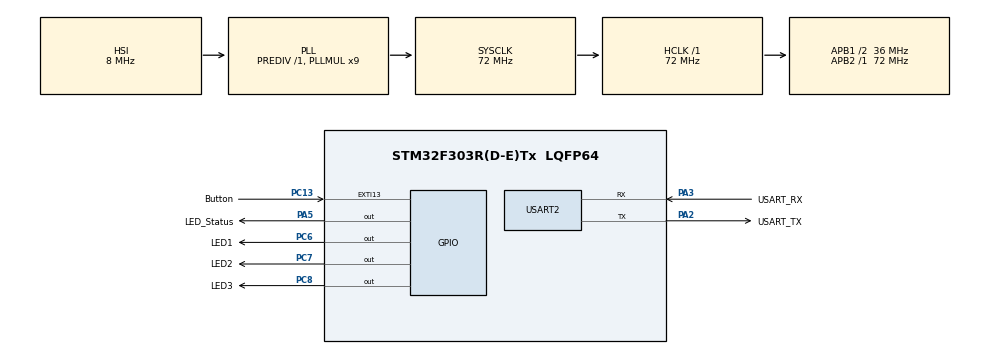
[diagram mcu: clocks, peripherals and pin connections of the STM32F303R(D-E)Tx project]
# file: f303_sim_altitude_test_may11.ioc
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Mcu.Family=STM32F3
PA2.GPIO_PuPd=GPIO_NOPULL
RCC.CortexFreq_Value=72000000
PA14.GPIO_Label=TCK
RCC.SYSCLKSourceVirtual=RCC_SYSCLKSOURCE_PLLCLK
PA3.GPIO_PuPd=GPIO_NOPULL
PA2.GPIO_Speed=GPIO_SPEED_FREQ_LOW
PC6.GPIO_Label=LED1
VP_RTC_VS_RTC_Activate.Mode=RTC_Enabled
PC13.GPIO_Label=Button
PA3.GPIO_Speed=GPIO_SPEED_FREQ_LOW
ProjectManager.StackSize=0x400
RCC.HCLKFreq_Value=72000000
RCC.APB2TimFreq_Value=72000000
PC7.Signal=GPIO_Output
RCC.AHBFreq_Value=72000000
RCC.HSE_VALUE=8000000
USART2.VirtualMode-Asynchronous=VM_ASYNC
RCC.RTCClockSelection=RCC_RTCCLKSOURCE_LSE
RCC.RCC_PLLsource_Clock_Source_FROM_HSE=RCC_HSE_PREDIV_DIV2
RCC.PLLMUL=RCC_PLL_MUL9
PC14-OSC32_IN.Mode=LSE-External-Oscillator
PA14.Mode=Serial_Wire
PA5.GPIO_PuPd=GPIO_NOPULL
Mcu.Package=LQFP64
PA2.GPIO_Label=USART_TX
RCC.APB1TimFreq_Value=72000000
PF1-OSC_OUT.Signal=RCC_OSC_OUT
PA3.Signal=USART2_RX
PA2.GPIO_Mode=GPIO_MODE_AF_PP
PB3.GPIO_Label=SWO
PC15-OSC32_OUT.Mode=LSE-External-Oscillator
PC13.Signal=GPXTI13
PC8.Signal=GPIO_Output
PC6.Signal=GPIO_Output
RCC.APB1CLKDivider=RCC_HCLK_DIV2
PC14-OSC32_IN.Signal=RCC_OSC32_IN
PC8.GPIO_Label=LED3
PA13.Signal=SYS_JTMS-SWDIO
PA3.Mode=Asynchronous
ProjectManager.TargetToolchain=STM32CubeIDE
PA3.GPIO_Mode=GPIO_MODE_AF_PP
RCC.USBFreq_Value=72000000
PC15-OSC32_OUT.Signal=RCC_OSC32_OUT
PF0-OSC_IN.Mode=HSE-External-Clock-Source
PA5.Signal=GPIO_Output
board=NUCLEO-F303RE
RCC.APB2Freq_Value=72000000
PA13.Mode=Serial_Wire
Mcu.Name=STM32F303R(D-E)Tx
PA13.GPIO_Label=TMS
PA2.Signal=USART2_TX
PC7.GPIO_Label=LED2
PB3.Signal=SYS_JTDO-TRACESWO
RCC.SYSCLKFreq_VALUE=72000000
PA5.GPIO_Label=LED_Status
PC13.GPIO_ModeDefaultEXTI=GPIO_MODE_IT_FALLING
PA14.Signal=SYS_JTCK-SWCLK
ProjectManager.HeapSize=0x200
RCC.HSI_VALUE=8000000
RCC.PLLP=RCC_PLLP_DIV4
PA5.GPIO_Speed=GPIO_SPEED_FREQ_LOW
RCC.PLLQ=7
NVIC.PriorityGroup=NVIC_PRIORITYGROUP_0
RCC.PLLM=8
RCC.PLLN=336
PA2.Mode=Asynchronous
PF0-OSC_IN.Signal=RCC_OSC_IN
RCC.APB1Freq_Value=36000000
PA5.GPIO_Mode=GPIO_MODE_OUTPUT_PP
PA3.GPIO_Label=USART_RX

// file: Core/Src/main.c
/* USER CODE BEGIN Header */
/**
  ******************************************************************************
  * @file           : main.c
  * @brief          : Main program body
  ******************************************************************************
  * @attention
  *
  * <h2><center>&copy; Copyright (c) 2021 STMicroelectronics.
  * All rights reserved.</center></h2>
  *
  * This software component is licensed by ST under BSD 3-Clause license,
  * the "License"; You may not use this file except in compliance with the
  * License. You may obtain a copy of the License at:
  *                        opensource.org/licenses/BSD-3-Clause
  *
  ******************************************************************************
  */
/* USER CODE END Header */
#include "main.h"

/* USER CODE BEGIN Includes */
#include <stdio.h>
#include <stdlib.h>
#include <string.h>
#include <math.h>
#include "ejection.h"

/* USER CODE END Includes */

/* USER CODE BEGIN PD */

#define DEBUG_MODE
#define CONFIG_TIME

/* USER CODE END PD */

RTC_HandleTypeDef hrtc;

UART_HandleTypeDef huart2;

/* USER CODE BEGIN PV */
// Transmission buffer
//static uint8_t rx_buffer[TX_BUF_DIM];
//static uint8_t tx_buffer[TX_BUF_DIM];
static uint8_t msg_buffer[TX_BUF_DIM];

// Ejection Variables
float alt_meas;
float alt_ground = 0;
float t_previous_loop, t_previous_buzz;
float average_gradient;

uint8_t apogee_reached = 0;
uint8_t inFlight = 0;
uint8_t main_deployed = 0;

uint32_t count = 0;

uint8_t readingLps = 0;

long time11;
long time12;
long time21;
long time22;

// Continuity and current measurements
float vsense_input;
float vsense_drogue;
float vsense_main;
uint8_t drogue_cont_1;
uint8_t drogue_cont_2;
uint8_t main_cont_1;
uint8_t main_cont_2;

// Telemetry Variables
uint8_t telemetry_counter = 0;

// Variables to store converted sensor data
float acceleration[] = {0, 0, 0};
float angular_rate[]= {0, 0, 0};
float pressure = 0;
float millis = 0;
float temperature = 0;
float latitude;
float longitude;
float time;

uint32_t data_raw_pressure;

// RTC date and time structures
RTC_DateTypeDef sdatestructureget;
RTC_TimeTypeDef stimestructureget;

// Timer variable
volatile uint8_t currTask = 0;

/* USER CODE END PV */

void SystemClock_Config(void);
static void MX_GPIO_Init(void);
static void MX_USART2_UART_Init(void);
static void MX_RTC_Init(void);
/* USER CODE BEGIN PFP */

// Convert pressure to altitude function
float getAltitude();
void get_pressure(float *pressure, float *millis);
float getVelocityGradient();
/* USER CODE END PFP */

int main(void)
{

  /* MCU Configuration--------------------------------------------------------*/

  /* Reset of all peripherals, Initializes the Flash interface and the Systick. */
  HAL_Init();

  /* Configure the system clock */
  SystemClock_Config();

  /* Initialize all configured peripherals */
  MX_GPIO_Init();
  MX_USART2_UART_Init();
  MX_RTC_Init();
  /* USER CODE BEGIN 2 */

  // Reset GPIOs
  HAL_GPIO_WritePin(LED_Status_GPIO_Port, LED_Status_Pin, GPIO_PIN_RESET);
  HAL_GPIO_WritePin(LED1_GPIO_Port, LED1_Pin, GPIO_PIN_RESET);
  HAL_GPIO_WritePin(LED2_GPIO_Port, LED2_Pin, GPIO_PIN_RESET);
  HAL_GPIO_WritePin(LED3_GPIO_Port, LED3_Pin, GPIO_PIN_RESET);

  // Reset error status --- indicators -> 0:SD, 1:LSM, 2:LPS, 3:Radio, 4:GPS, 5:Any
  memset(FC_Errors, 0, 6*sizeof(*FC_Errors));
  FC_Errors[5] = 1;

  // Reset ejection arrays
  memset(alt_previous, 0, NUM_MEAS_AVGING*sizeof(*alt_previous));
  memset(vel_previous, 0, NUM_MEAS_AVGING*sizeof(*vel_previous));

  // Get initial sensor values (will return 0)
  HAL_RTC_GetDate(&hrtc, &sdatestructureget, RTC_FORMAT_BIN);
  HAL_RTC_GetTime(&hrtc, &stimestructureget, RTC_FORMAT_BIN);

  // Stay inside loop until button pressed
  while (HAL_GPIO_ReadPin(Button_GPIO_Port, Button_Pin)){
	  if (FC_Errors[5])
		  HAL_GPIO_TogglePin(LED_Status_GPIO_Port, LED_Status_Pin);
	  HAL_Delay(250);
  }
  HAL_GPIO_WritePin(LED_Status_GPIO_Port, LED_Status_Pin, GPIO_PIN_SET);

//  sprintf((char *)msg_buffer, "---------- TELL SCRIPT TO START ----------\n");
//  HAL_UART_Transmit(&huart2, msg_buffer, strlen((char const *)msg_buffer), 1000);

  sprintf((char *)msg_buffer, "S\n"); // transmit s to start
  HAL_UART_Transmit(&huart2, msg_buffer, strlen((char const *)msg_buffer), 1000);

  // Reset LED status (now indicating ejection events)
  HAL_GPIO_WritePin(LED1_GPIO_Port, LED1_Pin, GPIO_PIN_RESET);
  HAL_GPIO_WritePin(LED2_GPIO_Port, LED2_Pin, GPIO_PIN_RESET);
  HAL_GPIO_WritePin(LED3_GPIO_Port, LED3_Pin, GPIO_PIN_RESET);

  // ---------- START OF EJECTION CODE ----------
    float altitude = 0;
    float alt_filtered = 0;

    // Get ground-level pressure and set as bias
    for (uint16_t i = 0; i < ALT_MEAS_AVGING; i++){
  	  altitude = getAltitude();
  	  alt_ground += altitude;
    }
    alt_ground = alt_ground/ALT_MEAS_AVGING; 			// Average of altitude readings

  #ifdef DEBUG_MODE
//    sprintf((char *)msg_buffer, "---------- AVERAGE OF ALT READINGS: %hu ft. NOW WAITING FOR LAUNCH ----------\n", (uint16_t)alt_ground);
//    HAL_UART_Transmit(&huart2, msg_buffer, strlen((char const *)msg_buffer), 1000);
  #endif

    // Waiting for launch
    // TODO: Replace 500 by the actual value
    while(alt_filtered < 500){							// Waiting to launch
  	altitude = getAltitude();
  	alt_filtered = runAltitudeMeasurements(HAL_GetTick(), altitude);
  #ifdef DEBUG_MODE
//  	sprintf((char *)msg_buffer, "Filtered Alt =  %hu\n\n", (uint16_t)alt_filtered);
//  	HAL_UART_Transmit(&huart2, msg_buffer, strlen((char const *)msg_buffer), 1000);
  #endif
  	HAL_Delay(15);
    }

    // Launched -> Wait for apogee
    // Set flight indicator
    inFlight = 1;
  #ifdef DEBUG_MODE
//    sprintf((char *)msg_buffer, "---------- LAUNCHED ----------\n");
//    HAL_UART_Transmit(&huart2, msg_buffer, strlen((char const *)msg_buffer), 1000);

    // Indicate status thru LED
    HAL_GPIO_WritePin(LED1_GPIO_Port, LED1_Pin, GPIO_PIN_SET);
  #endif

    // apogee detection
    while (getVelocityGradient() > -2 && alt_filtered < THRESHOLD_ALTITUDE){ // while moving up and hasn't reached threshold altitude yet
    	altitude = getAltitude();
    	alt_filtered = runAltitudeMeasurements(HAL_GetTick(), altitude);
    	HAL_Delay(100);
    }

  // At apogee -> Deploy drogue
  #ifdef DEBUG_MODE
//    sprintf((char *)msg_buffer, "---------- AT APOGEE - DEPLOYING DROGUE AT %hu ft ----------\n", (uint16_t)altitude);
//    HAL_UART_Transmit(&huart2, msg_buffer, strlen((char const *)msg_buffer), 1000);

    // Indicate status thru LED
    HAL_GPIO_WritePin(LED2_GPIO_Port, LED2_Pin, GPIO_PIN_SET);
  #endif

    // Deploy drogue
    HAL_Delay(DROGUE_DELAY);

    // Wait for main deployment altitude
    while (alt_filtered > MAIN_DEPLOYMENT){
      altitude = getAltitude();
      alt_filtered = runAltitudeMeasurements(HAL_GetTick(), altitude);
      HAL_Delay(15);
    }

    // At main deployment altitude -> Deploy main
  #ifdef DEBUG_MODE
//    sprintf((char *)msg_buffer, "---------- DEPLOYING MAIN AT %hu ft ----------\n", (uint16_t)altitude);
//    HAL_UART_Transmit(&huart2, msg_buffer, strlen((char const *)msg_buffer), 1000);

    // Indicate status thru LED
    HAL_GPIO_WritePin(LED3_GPIO_Port, LED3_Pin, GPIO_PIN_SET);
  #endif

    HAL_Delay(MAIN_DELAY);

    // Landing detection
    while (count < LANDING_SAMPLES) {
      if (filterAltitude(altitude, time) - alt_previous[NUM_MEAS_AVGING] < LANDING_THRESHOLD)
      	count++;
      else
      	count = 0;
      HAL_Delay(15);
    }

    // Set flight status to 0
    inFlight = 0;

    // Landing
    HAL_GPIO_WritePin(LED1_GPIO_Port, LED1_Pin, GPIO_PIN_RESET);
    HAL_GPIO_WritePin(LED2_GPIO_Port, LED2_Pin, GPIO_PIN_RESET);
    HAL_GPIO_WritePin(LED3_GPIO_Port, LED3_Pin, GPIO_PIN_RESET);

  // ---------- END OF EJECTION CODE ----------

  /* USER CODE END 2 */

  /* Infinite loop */
  /* USER CODE BEGIN WHILE */
  while (1)
  {
	HAL_Delay(1000);
    /* USER CODE END WHILE */

  }
}

void SystemClock_Config(void)
{
  RCC_OscInitTypeDef RCC_OscInitStruct = {0};
  RCC_ClkInitTypeDef RCC_ClkInitStruct = {0};
  RCC_PeriphCLKInitTypeDef PeriphClkInit = {0};

  /** Configure LSE Drive Capability
  */
  HAL_PWR_EnableBkUpAccess();
  __HAL_RCC_LSEDRIVE_CONFIG(RCC_LSEDRIVE_LOW);
  /** Initializes the RCC Oscillators according to the specified parameters
  * in the RCC_OscInitTypeDef structure.
  */
  RCC_OscInitStruct.OscillatorType = RCC_OSCILLATORTYPE_HSI|RCC_OSCILLATORTYPE_LSE;
  RCC_OscInitStruct.LSEState = RCC_LSE_ON;
  RCC_OscInitStruct.HSIState = RCC_HSI_ON;
  RCC_OscInitStruct.HSICalibrationValue = RCC_HSICALIBRATION_DEFAULT;
  RCC_OscInitStruct.PLL.PLLState = RCC_PLL_ON;
  RCC_OscInitStruct.PLL.PLLSource = RCC_PLLSOURCE_HSI;
  RCC_OscInitStruct.PLL.PLLMUL = RCC_PLL_MUL9;
  RCC_OscInitStruct.PLL.PREDIV = RCC_PREDIV_DIV1;
  if (HAL_RCC_OscConfig(&RCC_OscInitStruct) != HAL_OK)
  {
    Error_Handler();
  }
  /** Initializes the CPU, AHB and APB buses clocks
  */
  RCC_ClkInitStruct.ClockType = RCC_CLOCKTYPE_HCLK|RCC_CLOCKTYPE_SYSCLK
                              |RCC_CLOCKTYPE_PCLK1|RCC_CLOCKTYPE_PCLK2;
  RCC_ClkInitStruct.SYSCLKSource = RCC_SYSCLKSOURCE_PLLCLK;
  RCC_ClkInitStruct.AHBCLKDivider = RCC_SYSCLK_DIV1;
  RCC_ClkInitStruct.APB1CLKDivider = RCC_HCLK_DIV2;
  RCC_ClkInitStruct.APB2CLKDivider = RCC_HCLK_DIV1;

  if (HAL_RCC_ClockConfig(&RCC_ClkInitStruct, FLASH_LATENCY_2) != HAL_OK)
  {
    Error_Handler();
  }
  PeriphClkInit.PeriphClockSelection = RCC_PERIPHCLK_USART2|RCC_PERIPHCLK_RTC;
  PeriphClkInit.Usart2ClockSelection = RCC_USART2CLKSOURCE_PCLK1;
  PeriphClkInit.RTCClockSelection = RCC_RTCCLKSOURCE_LSE;
  if (HAL_RCCEx_PeriphCLKConfig(&PeriphClkInit) != HAL_OK)
  {
    Error_Handler();
  }
}

static void MX_RTC_Init(void)
{

  /** Initialize RTC Only
  */
  hrtc.Instance = RTC;
  hrtc.Init.HourFormat = RTC_HOURFORMAT_24;
  hrtc.Init.AsynchPrediv = 127;
  hrtc.Init.SynchPrediv = 255;
  hrtc.Init.OutPut = RTC_OUTPUT_DISABLE;
  hrtc.Init.OutPutPolarity = RTC_OUTPUT_POLARITY_HIGH;
  hrtc.Init.OutPutType = RTC_OUTPUT_TYPE_OPENDRAIN;
  if (HAL_RTC_Init(&hrtc) != HAL_OK)
  {
    Error_Handler();
  }
  /* USER CODE BEGIN RTC_Init 2 */
#ifdef CONFIG_TIME
  RTC_DateTypeDef sdatestructure;
  RTC_TimeTypeDef stimestructure;

  /*##-1- Configure the Date #################################################*/
  /* Set Date: Thursday May 6th 2021 */
  sdatestructure.Year = 0x21;
  sdatestructure.Month = RTC_MONTH_MAY;
  sdatestructure.Date = 0x06;
  sdatestructure.WeekDay = RTC_WEEKDAY_THURSDAY;

  if(HAL_RTC_SetDate(&hrtc,&sdatestructure,RTC_FORMAT_BCD) != HAL_OK)
  {
	  /* Initialization Error */
	  Error_Handler();
  }

  /*##-2- Configure the Time #################################################*/
  /* Set Time: 11:00:00 PM */
  stimestructure.Hours = 0x11;
  stimestructure.Minutes = 0x00;
  stimestructure.Seconds = 0x00;
  stimestructure.TimeFormat = RTC_HOURFORMAT12_PM;
  stimestructure.DayLightSaving = RTC_DAYLIGHTSAVING_NONE ;
  stimestructure.StoreOperation = RTC_STOREOPERATION_RESET;

  if (HAL_RTC_SetTime(&hrtc, &stimestructure, RTC_FORMAT_BCD) != HAL_OK)
  {
	  /* Initialization Error */
	  Error_Handler();
  }
#endif
  /* USER CODE END RTC_Init 2 */

}

static void MX_USART2_UART_Init(void)
{

  huart2.Instance = USART2;
  huart2.Init.BaudRate = 38400;
  huart2.Init.WordLength = UART_WORDLENGTH_8B;
  huart2.Init.StopBits = UART_STOPBITS_1;
  huart2.Init.Parity = UART_PARITY_NONE;
  huart2.Init.Mode = UART_MODE_TX_RX;
  huart2.Init.HwFlowCtl = UART_HWCONTROL_NONE;
  huart2.Init.OverSampling = UART_OVERSAMPLING_16;
  huart2.Init.OneBitSampling = UART_ONE_BIT_SAMPLE_DISABLE;
  huart2.AdvancedInit.AdvFeatureInit = UART_ADVFEATURE_NO_INIT;
  if (HAL_UART_Init(&huart2) != HAL_OK)
  {
    Error_Handler();
  }

}

static void MX_GPIO_Init(void)
{
  GPIO_InitTypeDef GPIO_InitStruct = {0};

  /* GPIO Ports Clock Enable */
  __HAL_RCC_GPIOC_CLK_ENABLE();
  __HAL_RCC_GPIOF_CLK_ENABLE();
  __HAL_RCC_GPIOA_CLK_ENABLE();
  __HAL_RCC_GPIOB_CLK_ENABLE();

  /*Configure GPIO pin Output Level */
  HAL_GPIO_WritePin(LED_Status_GPIO_Port, LED_Status_Pin, GPIO_PIN_RESET);

  /*Configure GPIO pin Output Level */
  HAL_GPIO_WritePin(GPIOC, LED1_Pin|LED2_Pin|LED3_Pin, GPIO_PIN_RESET);

  /*Configure GPIO pin : Button_Pin */
  GPIO_InitStruct.Pin = Button_Pin;
  GPIO_InitStruct.Mode = GPIO_MODE_IT_FALLING;
  GPIO_InitStruct.Pull = GPIO_NOPULL;
  HAL_GPIO_Init(Button_GPIO_Port, &GPIO_InitStruct);

  /*Configure GPIO pin : LED_Status_Pin */
  GPIO_InitStruct.Pin = LED_Status_Pin;
  GPIO_InitStruct.Mode = GPIO_MODE_OUTPUT_PP;
  GPIO_InitStruct.Pull = GPIO_NOPULL;
  GPIO_InitStruct.Speed = GPIO_SPEED_FREQ_LOW;
  HAL_GPIO_Init(LED_Status_GPIO_Port, &GPIO_InitStruct);

  /*Configure GPIO pins : LED1_Pin LED2_Pin LED3_Pin */
  GPIO_InitStruct.Pin = LED1_Pin|LED2_Pin|LED3_Pin;
  GPIO_InitStruct.Mode = GPIO_MODE_OUTPUT_PP;
  GPIO_InitStruct.Pull = GPIO_NOPULL;
  GPIO_InitStruct.Speed = GPIO_SPEED_FREQ_LOW;
  HAL_GPIO_Init(GPIOC, &GPIO_InitStruct);

}

/* USER CODE BEGIN 4 */
float getAltitude(){
	get_pressure(&pressure, &millis);
	float altitude = 145442.1609 * (1.0 - pow(pressure/LOCAL_PRESSURE, 0.190266436));
	return altitude;
}

void get_pressure(float *pressure, float *millis) {
	// first need to transmit a '0\r\n'
	// so that the script knows to send a value
	// need the \n since script uses readline() and searches for \n termination
	uint8_t startMessage[] = "0\n";

//	#ifdef DEBUG_MODE
//	  sprintf((char *)msg_buffer, "---------- ENTERED get_pressure ----------\nstartMessage = \n");
//	  HAL_UART_Transmit(&huart2, msg_buffer, strlen((char const *)msg_buffer), 5);
//	#endif

	uint32_t timeout = 1000;
	HAL_UART_Transmit(&huart2, startMessage, sizeof(startMessage), timeout);

	// now receive input from script
	uint16_t max_loop_count = 50;
	uint16_t loop_count = 0;

	uint8_t timeBuf[25]; // buffer of 25 chars
	uint8_t rxBuf[25];
	uint8_t rxCurrent; // current receive char
	uint8_t rxIndex = 0;

	int done = 0;
	uint8_t processAlt = 0;

	while (loop_count < max_loop_count && !done) {
		HAL_UART_Receive(&huart2, (uint8_t*) &rxCurrent, 1, timeout);

		if (rxCurrent == 'A'){
			processAlt = 1;
			*millis = (((float) (atof((char *) timeBuf))) * 1000);
			memset(timeBuf, 0, sizeof(timeBuf));
			rxIndex = 0;
		}
		else if (rxCurrent == '\n'){
			data_raw_pressure = (uint32_t) (atof((char *) rxBuf));
			*pressure = (float) data_raw_pressure;
			memset(rxBuf, 0, sizeof(rxBuf));
			done = 1;
			break;
		}
		else if (rxIndex >= 25){
			break;
		}
		else{
			if (!processAlt){
				timeBuf[rxIndex++] = rxCurrent;
			}
			else{
				rxBuf[rxIndex++] = rxCurrent;
			}
		}

//		if (rxCurrent != '\n' && rxIndex < sizeof(rxBuf)) {
//			rxBuf[rxIndex++] = rxCurrent;
//		} else {
//			// convert to uint32_t as data_raw_pressure
//			data_raw_pressure = (uint32_t) (atoi((char *) rxBuf));
//			*pressure = (float) data_raw_pressure;
//			memset(rxBuf, 0, sizeof(rxBuf));
//			done = 1;
//		}
		__HAL_UART_CLEAR_FLAG(&huart2, UART_CLEAR_OREF | UART_CLEAR_NEF | UART_CLEAR_PEF | UART_CLEAR_FEF);
		loop_count++;
	}

}
/* USER CODE END 4 */

void Error_Handler(void)
{
}

/************************ (C) COPYRIGHT STMicroelectronics *****END OF FILE****/
